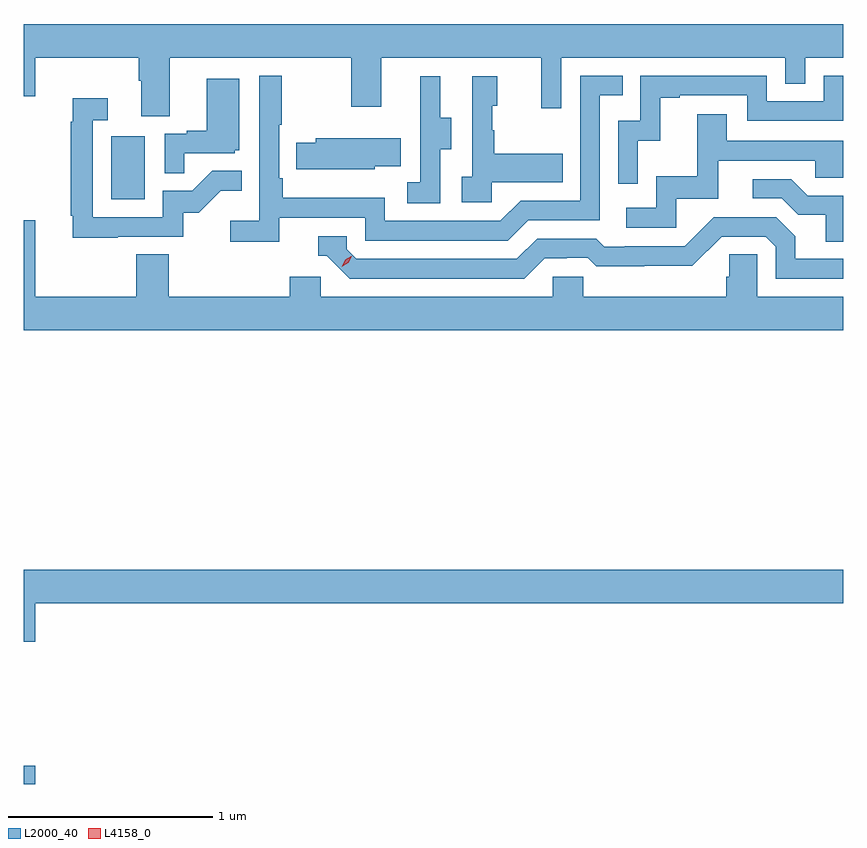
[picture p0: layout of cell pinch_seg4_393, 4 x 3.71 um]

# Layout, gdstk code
import gdstk
lib = gdstk.Library(unit=1e-6, precision=1e-09)
def R(c, l, rs):  # rectangles x0, y0, x1, y1
    for r in rs: c.add(gdstk.rectangle(r[:2], r[2:], *l))
def P(c, l, *ps):  # polygons
    for p in ps: c.add(gdstk.Polygon(p, *l))
L2000_40 = (2000, 40)
L4158_0 = (4158, 0)

pinch_seg4_393 = lib.new_cell('pinch_seg4_393')
R(pinch_seg4_393, L2000_40, [(956.324,775.958,956.38,776.047), (956.75,778.812,956.914,779.119)])
P(pinch_seg4_393, L2000_40, [(957.037,779.504),(957.922,779.504),(957.922,779.265),(958.069,779.265),(958.069,779.504),(958.85,779.504),(958.85,779.256),(958.947,779.256),(958.947,779.504),(960.042,779.504),(960.042,779.377),(960.138,779.377),(960.138,779.504),(960.324,779.504),(960.324,779.668),(956.324,779.668),(956.324,779.316),(956.38,779.316),(956.38,779.504),(956.885,779.504),(956.885,779.392),(956.897,779.392),(956.897,779.218),(957.037,779.218)],
  [(957.572,778.722),(957.99,778.722),(957.99,778.611),(958.687,778.611),(958.786,778.71),(959.136,778.71),(959.136,779.319),(959.249,779.319),(959.249,779.415),(959.04,779.415),(959.04,778.806),(958.749,778.806),(958.65,778.707),(958.086,778.707),(958.086,778.819),(957.587,778.819),(957.587,778.915),(957.57,778.915),(957.57,779.176),(957.583,779.176),(957.583,779.416),(957.474,779.416),(957.474,778.708),(957.333,778.708),(957.333,778.606),(957.572,778.606)],
  [(959.322,779.099),(959.432,779.099),(959.432,779.307),(959.527,779.307),(959.527,779.319),(959.856,779.319),(959.856,779.196),(960.324,779.196),(960.324,779.415),(960.228,779.415),(960.228,779.292),(959.952,779.292),(959.952,779.415),(959.334,779.415),(959.334,779.196),(959.226,779.196),(959.226,778.887),(959.322,778.887)],
  [(958.608,778.895),(958.955,778.895),(958.955,779.035),(958.621,779.035),(958.621,779.15),(958.611,779.15),(958.611,779.268),(958.636,779.268),(958.636,779.413),(958.512,779.413),(958.512,778.922),(958.461,778.922),(958.461,778.797),(958.608,778.797)],
  [(958.356,779.056),(958.411,779.056),(958.411,779.211),(958.357,779.211),(958.357,779.413),(958.259,779.413),(958.259,779.199),(958.26,779.199),(958.26,778.895),(958.197,778.895),(958.197,778.792),(958.356,778.792)],
  [(957.107,779.037),(957.354,779.037),(957.354,779.052),(957.376,779.052),(957.376,779.401),(957.218,779.401),(957.218,779.146),(957.119,779.146),(957.119,779.133),(957.012,779.133),(957.012,778.939),(957.107,778.939)],
  [(956.783,778.629),(957.102,778.629),(957.102,778.746),(957.178,778.746),(957.285,778.853),(957.389,778.853),(957.389,778.952),(957.245,778.952),(957.147,778.854),(957.003,778.854),(957.003,778.725),(956.661,778.725),(956.661,779.199),(956.734,779.199),(956.734,779.305),(956.564,779.305),(956.564,779.192),(956.553,779.192),(956.553,778.732),(956.564,778.732),(956.564,778.624),(956.783,778.624)],
  [(959.508,778.815),(959.713,778.815),(959.713,779.001),(960.187,779.001),(960.187,778.917),(960.324,778.917),(960.324,779.097),(959.755,779.097),(959.755,779.227),(959.611,779.227),(959.611,778.924),(959.412,778.924),(959.412,778.77),(959.265,778.77),(959.265,778.674),(959.508,778.674)],
  [(958.038,778.973),(958.163,778.973),(958.163,779.11),(957.749,779.11),(957.749,779.088),(957.655,779.088),(957.655,778.959),(957.766,778.959),(957.766,778.958),(958.038,778.958)],
  [(960.324,778.83),(960.151,778.83),(960.07,778.911),(959.883,778.911),(959.883,778.818),(960.024,778.818),(960.104,778.738),(960.239,778.738),(960.239,778.606),(960.324,778.606)],
  [(958.867,778.524),(958.974,778.524),(958.974,778.527),(959.077,778.527),(959.119,778.485),(959.352,778.485),(959.352,778.487),(959.588,778.487),(959.73,778.629),(959.946,778.629),(959.994,778.581),(959.994,778.425),(960.324,778.425),(960.324,778.521),(960.091,778.521),(960.091,778.631),(959.997,778.725),(959.691,778.725),(959.55,778.584),(959.257,778.584),(959.257,778.581),(959.158,778.581),(959.119,778.62),(958.83,778.62),(958.731,778.521),(957.948,778.521),(957.9,778.569),(957.9,778.632),(957.761,778.632),(957.761,778.536),(957.804,778.536),(957.915,778.425),(958.768,778.425)],
  [(960.324,778.336),(959.904,778.336),(959.904,778.544),(959.767,778.544),(959.767,778.434),(959.753,778.434),(959.753,778.336),(959.055,778.336),(959.055,778.434),(958.905,778.434),(958.905,778.336),(957.774,778.336),(957.774,778.434),(957.623,778.434),(957.623,778.336),(957.032,778.336),(957.032,778.544),(956.872,778.544),(956.872,778.336),(956.38,778.336),(956.38,778.711),(956.324,778.711),(956.324,778.172),(960.324,778.172)],
  [(956.38,776.84),(960.324,776.84),(960.324,777.004),(956.324,777.004),(956.324,776.652),(956.38,776.652)])
P(pinch_seg4_393, L4158_0, [(957.876,778.484),(957.876,778.484),(957.892,778.516),(957.923,778.535),(957.924,778.535),(957.924,778.535),(957.907,778.503),(957.876,778.484)])

lib.write_gds('pinch_seg4_393.gds')
